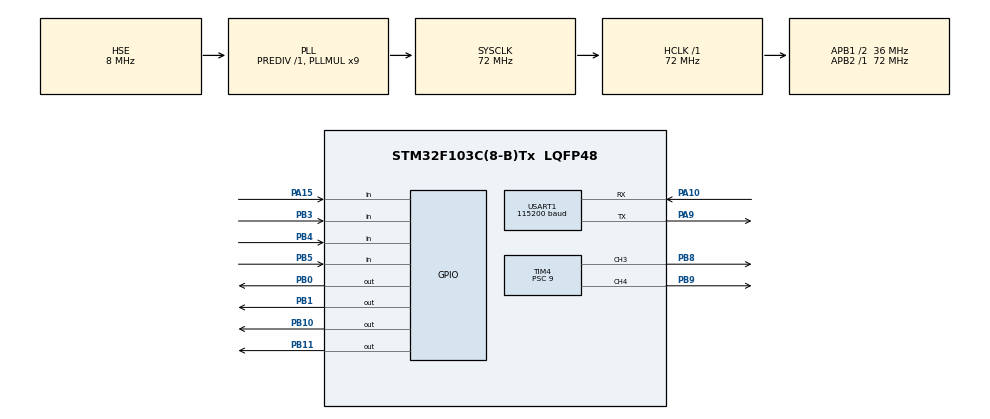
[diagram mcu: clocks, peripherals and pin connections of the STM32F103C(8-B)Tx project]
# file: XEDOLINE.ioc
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Dma.Request0=USART1_RX
Dma.USART1_RX.0.Direction=DMA_PERIPH_TO_MEMORY
Dma.USART1_RX.0.Instance=DMA1_Channel5
Dma.USART1_RX.0.MemDataAlignment=DMA_MDATAALIGN_BYTE
Dma.USART1_RX.0.MemInc=DMA_MINC_ENABLE
Dma.USART1_RX.0.Mode=DMA_NORMAL
Dma.USART1_RX.0.PeriphDataAlignment=DMA_PDATAALIGN_BYTE
Dma.USART1_RX.0.PeriphInc=DMA_PINC_DISABLE
Dma.USART1_RX.0.Priority=DMA_PRIORITY_LOW
Mcu.Family=STM32F1
Mcu.Name=STM32F103C(8-B)Tx
Mcu.Package=LQFP48
NVIC.DMA1_Channel5_IRQn=true\:0\:0\:false\:false\:true\:false\:true
NVIC.PriorityGroup=NVIC_PRIORITYGROUP_4
NVIC.TIM3_IRQn=true\:0\:0\:false\:false\:true\:true\:true
NVIC.USART1_IRQn=true\:0\:0\:false\:false\:true\:true\:true
PA10.Mode=Asynchronous
PA10.Signal=USART1_RX
PA13.Mode=Serial_Wire
PA13.Signal=SYS_JTMS-SWDIO
PA14.Mode=Serial_Wire
PA14.Signal=SYS_JTCK-SWCLK
PA15.Signal=GPIO_Input
PA9.Mode=Asynchronous
PA9.Signal=USART1_TX
PB0.Signal=GPIO_Output
PB1.Signal=GPIO_Output
PB10.Signal=GPIO_Output
PB11.Signal=GPIO_Output
PB3.Signal=GPIO_Input
PB4.Signal=GPIO_Input
PB5.Signal=GPIO_Input
PB8.Signal=S_TIM4_CH3
PB9.Signal=S_TIM4_CH4
PD0-OSC_IN.Mode=HSE-External-Oscillator
PD0-OSC_IN.Signal=RCC_OSC_IN
PD1-OSC_OUT.Mode=HSE-External-Oscillator
PD1-OSC_OUT.Signal=RCC_OSC_OUT
ProjectManager.HeapSize=0x200
ProjectManager.StackSize=0x400
ProjectManager.TargetToolchain=MDK-ARM V5
RCC.AHBFreq_Value=72000000
RCC.APB1CLKDivider=RCC_HCLK_DIV2
RCC.APB1Freq_Value=36000000
RCC.APB1TimFreq_Value=72000000
RCC.APB2Freq_Value=72000000
RCC.APB2TimFreq_Value=72000000
RCC.HCLKFreq_Value=72000000
RCC.PLLMUL=RCC_PLL_MUL9
RCC.PLLSourceVirtual=RCC_PLLSOURCE_HSE
RCC.SYSCLKFreq_VALUE=72000000
RCC.SYSCLKSource=RCC_SYSCLKSOURCE_PLLCLK
RCC.USBFreq_Value=72000000
SH.S_TIM4_CH3.0=TIM4_CH3,PWM Generation3 CH3
SH.S_TIM4_CH4.0=TIM4_CH4,PWM Generation4 CH4
TIM3.Period=200
TIM3.Prescaler=7199
TIM4.Channel-PWM\ Generation3\ CH3=TIM_CHANNEL_3
TIM4.Channel-PWM\ Generation4\ CH4=TIM_CHANNEL_4
TIM4.Period=254
TIM4.Prescaler=9
USART1.BaudRate=115200
USART1.VirtualMode=VM_ASYNC
VP_TIM3_VS_ClockSourceINT.Mode=Internal
VP_TIM4_VS_ClockSourceINT.Mode=Internal
board=custom

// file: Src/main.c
/* USER CODE BEGIN Header */
/**
  ******************************************************************************
  * @file           : main.c
  * @brief          : Main program body
  ******************************************************************************
  * @attention
  *
  * <h2><center>&copy; Copyright (c) 2019 STMicroelectronics.
  * All rights reserved.</center></h2>
  *
  * This software component is licensed by ST under BSD 3-Clause license,
  * the "License"; You may not use this file except in compliance with the
  * License. You may obtain a copy of the License at:
  *                        opensource.org/licenses/BSD-3-Clause
  *
  ******************************************************************************
  */
/* USER CODE END Header */

#include "main.h"

/* USER CODE BEGIN Includes */
#include <PID.h>
#include <control.h>
#include "string.h"
#include "stdio.h"

/* USER CODE END Includes */

/* USER CODE BEGIN PTD */
int kt=0;
float vitri;
int presumindex=0;
int i_SumIndexArry=0;
static int demtimeout=1;
static int demoutline=0;
static float previtri=0;
static int demprevitri=0;
typedef enum
	{
		STOP = 0,
		LINE_FOLLOW,
		MANUAL,
	}mode;
mode mode_current = STOP;
typedef enum
{
	LINE_OFF=0,
	LINE_START,
}LINE_parameter;

typedef enum
{
	LINE_external=0,
	LINE_internal,
}LINE_Control;

LINE_parameter Line_status=LINE_START;

void Control_Value_Line(int value);
void Control_vitri_Line(float vitri);
void CONTROL();

/* USER CODE END PTD */

/* USER CODE BEGIN PD */
typedef enum
	{
			UART_START =0,
			UART_APP ,
	}Uart_statemachine;
Uart_statemachine my_state = UART_START;
/* USER CODE END PD */

TIM_HandleTypeDef htim3;
TIM_HandleTypeDef htim4;
UART_HandleTypeDef huart1;
DMA_HandleTypeDef hdma_usart1_rx;
DMA_HandleTypeDef hdma_usart1_tx;

/* USER CODE BEGIN PV */
uint8_t pwm1 = 160;
uint8_t pwm2 = 160;
uint8_t offset = 10;
//uint8_t mode = 0;    // 2 : control   , 1: line follow
int i =0;
int k =0;
int kq = 0;
uint8_t S[4];
float result_PWM;
uint8_t Rx_buff[10];
PID_parameter PID_set_parameters = {.Kp =30,.Ki=0.0002,.Kd=26,.Ts = 0.005,.PID_Saturation = 180
																			,.error =0,.pre_error =0,.pre2_error=0,.pre_Out =0,.Out = 0};
/* USER CODE END PV */

void SystemClock_Config(void);
static void MX_GPIO_Init(void);
static void MX_USART1_UART_Init(void);
static void MX_TIM4_Init(void);
static void MX_TIM3_Init(void);
static void MX_DMA_Init(void);
/* USER CODE BEGIN PFP */

/*
PB0  ---> IN4
PB1  ---> IN3
PB10 ---> IN2
PB11 ---> IN1
*/
void HAL_TIM_PeriodElapsedCallback(TIM_HandleTypeDef *htim)   // ngat 5ms
	{
	if (htim->Instance == htim3.Instance)
	{
		if ( mode_current == LINE_FOLLOW)
		{
			S[3] = HAL_GPIO_ReadPin(GPIOB,GPIO_PIN_5); // dat gia tri = 7
			S[2] = HAL_GPIO_ReadPin(GPIOB,GPIO_PIN_4); // dat gia tri = 5
			S[1] = HAL_GPIO_ReadPin(GPIOB,GPIO_PIN_3); // dat gia tri = 3
			S[0] = HAL_GPIO_ReadPin(GPIOA,GPIO_PIN_15);// dat gia tri = 1
			for(int i=0;i<=3;i++)
			{
				if(S[i]==0)
				{
					i_SumIndexArry+=(2*i+1);
				}
			}

			if(i_SumIndexArry==0)
			{
				Line_status = LINE_OFF; // khong bat line
			}
			else
			{
				Line_status = LINE_START; // bat duoc line
			}

			switch(Line_status)
			{
				case LINE_OFF:
				{
					demoutline+=1;
					if(demoutline==20)    // out time line -> nhan lai tri tri truoc khi out
					{
							demtimeout+=1;
							vitri=previtri;
							Control_vitri_Line(vitri);
							Line_status = LINE_START;
							demoutline=0;
					}

					break;
				}
				case LINE_START:
				{
					Control_Value_Line(i_SumIndexArry);
					break;
				}
			}
			presumindex=i_SumIndexArry;
			i_SumIndexArry=0;

		}
		else if(mode_current == MANUAL)
		{
			CONTROL();
		}
		else if(mode_current == STOP)
		{
			__HAL_TIM_SET_COMPARE(&htim4,TIM_CHANNEL_3,0);
			__HAL_TIM_SET_COMPARE(&htim4,TIM_CHANNEL_4,0);
		}
	}
}
/* USER CODE END PFP */

/* USER CODE BEGIN 0 */

void HAL_UART_RxCpltCallback(UART_HandleTypeDef *huart)
{
	if(huart->Instance == huart1.Instance)
	{
	switch(my_state)
	{
		case UART_START:
			{
			if (Rx_buff[0] == 's' )  // khi nhan nut start de bat dau
				{
					my_state = UART_APP;
					HAL_UART_Receive_DMA(&huart1,Rx_buff,1);
					break;
				}
			else if (Rx_buff[0] == '1' )  // khi nhan nut stop
				{
					my_state = UART_START;
					HAL_UART_Receive_DMA(&huart1,Rx_buff,1);
					break;
				}
			}
		case UART_APP:
			{
			HAL_UART_Receive_DMA(&huart1,(uint8_t*)Rx_buff,1);
			if (Rx_buff[0] == 'f' || Rx_buff[0] == 'b' || Rx_buff[0] == 'r'||Rx_buff[0] == 'l')  // khi o che do dieu khien tay
				{
				mode_current = MANUAL;  // control
				my_state = UART_APP;
				HAL_UART_Receive_DMA(&huart1,Rx_buff,1);
				}
			else if (Rx_buff[0] =='i')
				{
					mode_current = STOP;

				}
			else if (Rx_buff[0] == 'd' ) // bat che do do line
				{
					mode_current = LINE_FOLLOW;  // che do do line
					HAL_UART_Receive_DMA(&huart1,Rx_buff,1);
					my_state = UART_APP;
				}
			else if(Rx_buff[0] == 'k'  ) // tat che do do line
				{
					mode_current =STOP;
					HAL_UART_Receive_DMA(&huart1,Rx_buff,1);
					my_state = UART_APP;
				}
			break;
				}
			}
		}
}
/*-----------------------------------------------------------------------------
@brief  Control_Value_Line
@param
light :         0    1    2    3
Reference:      1    3    5    7
*/
void Control_Value_Line (int value)
{
	switch(value)
		{
		case 7:
		{
			vitri=1.8;
			break;
		}
		case (12 | 15):
			vitri=1.65;
			break;
		case 5:
			vitri=1.4;
			break;
		case 3:
			vitri=-1.4;
			break;
		case 8:
			vitri=0;
			break;
		case 0:
			vitri =0;
			break;
		case (4 | 9):
			vitri= -1.65;
			break;
		case 1:
			vitri=-1.8;
			break;
		}
		Control_vitri_Line(vitri);
}
/*-----------------------------------------------------------------------------
@brief  Control robot f
@param 	None
*/
void CONTROL()
{
		switch(Rx_buff[0])
		{
		case 'r':
		{
			backward();
			__HAL_TIM_SET_COMPARE(&htim4,TIM_CHANNEL_3,100);   //speed of left motor
			__HAL_TIM_SET_COMPARE(&htim4,TIM_CHANNEL_4,200);	// speed of right motor
			break;
		}
		case 'l':
		{
			backward();
			__HAL_TIM_SET_COMPARE(&htim4,TIM_CHANNEL_3,200);   //speed of left motor
			__HAL_TIM_SET_COMPARE(&htim4,TIM_CHANNEL_4,100);	// speed of right motor
			break;
		}
		case 'f':
		{
			backward();
			__HAL_TIM_SET_COMPARE(&htim4,TIM_CHANNEL_3,210);   //speed of left motor
			__HAL_TIM_SET_COMPARE(&htim4,TIM_CHANNEL_4,210);	// speed of right motor
			break;
		}
		case 'b':
		{
			forward();
			__HAL_TIM_SET_COMPARE(&htim4,TIM_CHANNEL_3,210);   //speed of left motor
			__HAL_TIM_SET_COMPARE(&htim4,TIM_CHANNEL_4,210);	// speed of right motor
			break;
		}
}
}

void Control_vitri_Line (float vitri)
{
	previtri=vitri;
	result_PWM = PID_PROCESS(&PID_set_parameters,vitri,0);
	if (vitri== 0)
	{
		backward();
		__HAL_TIM_SET_COMPARE(&htim4,TIM_CHANNEL_3,180);  //kenh 3 dong co trai
		__HAL_TIM_SET_COMPARE(&htim4,TIM_CHANNEL_4,180);
	}
	if (vitri < 0)
	{
		if(vitri<-1.5)
		{
		backward();
		__HAL_TIM_SET_COMPARE(&htim4,TIM_CHANNEL_3,result_PWM);  //kenh 3 dong co trai
		HAL_GPIO_WritePin(GPIOB,GPIO_PIN_10,GPIO_PIN_SET); // dong co phai
		HAL_GPIO_WritePin(GPIOB,GPIO_PIN_11,GPIO_PIN_RESET);
		__HAL_TIM_SET_COMPARE(&htim4,TIM_CHANNEL_4,120);
		}
		else
		{
			backward();
			__HAL_TIM_SET_COMPARE(&htim4,TIM_CHANNEL_3,result_PWM);  //kenh 3 dong co trai
			__HAL_TIM_SET_COMPARE(&htim4,TIM_CHANNEL_4,160);
		}
	}
	if (vitri > 0)
	{
		if(vitri>1.5)
		{
		backward();
		__HAL_TIM_SET_COMPARE(&htim4,TIM_CHANNEL_4,(result_PWM*-1));
		HAL_GPIO_WritePin(GPIOB,GPIO_PIN_1,GPIO_PIN_RESET);  // dong co trai
		HAL_GPIO_WritePin(GPIOB,GPIO_PIN_0,GPIO_PIN_SET);
		__HAL_TIM_SET_COMPARE(&htim4,TIM_CHANNEL_3,120);
		}else
		{
			backward();
			__HAL_TIM_SET_COMPARE(&htim4,TIM_CHANNEL_4,(result_PWM*-1));
			__HAL_TIM_SET_COMPARE(&htim4,TIM_CHANNEL_3,160);
		}
	}

}
/* USER CODE END 0 */

int main(void)
{

  /* MCU Configuration--------------------------------------------------------*/

  /* Reset of all peripherals, Initializes the Flash interface and the Systick. */
  HAL_Init();

  /* Configure the system clock */
  SystemClock_Config();

  /* Initialize all configured peripherals */
  MX_GPIO_Init();

  MX_TIM4_Init();
  MX_TIM3_Init();
  MX_DMA_Init();
	MX_USART1_UART_Init();
  /* USER CODE BEGIN 2 */
  HAL_TIM_PWM_Start(&htim4,TIM_CHANNEL_3);
  HAL_TIM_PWM_Start(&htim4,TIM_CHANNEL_4);
  HAL_TIM_Base_Start_IT(&htim3);
	HAL_UART_Receive_DMA(&huart1,Rx_buff,1);
  /* USER CODE END 2 */

  /* Infinite loop */
  /* USER CODE BEGIN WHILE */
  while (1)
  {
		/*
						}*/
    /* USER CODE END WHILE */

  }
}

static void MX_TIM4_Init(void)
{

  TIM_ClockConfigTypeDef sClockSourceConfig = {0};
  TIM_MasterConfigTypeDef sMasterConfig = {0};
  TIM_OC_InitTypeDef sConfigOC = {0};

  htim4.Instance = TIM4;
  htim4.Init.Prescaler = 9;
  htim4.Init.CounterMode = TIM_COUNTERMODE_UP;
  htim4.Init.Period = 254;
  htim4.Init.ClockDivision = TIM_CLOCKDIVISION_DIV1;
  htim4.Init.AutoReloadPreload = TIM_AUTORELOAD_PRELOAD_DISABLE;
  if (HAL_TIM_Base_Init(&htim4) != HAL_OK)
  {
    Error_Handler();
  }
  sClockSourceConfig.ClockSource = TIM_CLOCKSOURCE_INTERNAL;
  if (HAL_TIM_ConfigClockSource(&htim4, &sClockSourceConfig) != HAL_OK)
  {
    Error_Handler();
  }
  if (HAL_TIM_PWM_Init(&htim4) != HAL_OK)
  {
    Error_Handler();
  }
  sMasterConfig.MasterOutputTrigger = TIM_TRGO_RESET;
  sMasterConfig.MasterSlaveMode = TIM_MASTERSLAVEMODE_DISABLE;
  if (HAL_TIMEx_MasterConfigSynchronization(&htim4, &sMasterConfig) != HAL_OK)
  {
    Error_Handler();
  }
  sConfigOC.OCMode = TIM_OCMODE_PWM1;
  sConfigOC.Pulse = 0;
  sConfigOC.OCPolarity = TIM_OCPOLARITY_HIGH;
  sConfigOC.OCFastMode = TIM_OCFAST_DISABLE;
  if (HAL_TIM_PWM_ConfigChannel(&htim4, &sConfigOC, TIM_CHANNEL_3) != HAL_OK)
  {
    Error_Handler();
  }
  if (HAL_TIM_PWM_ConfigChannel(&htim4, &sConfigOC, TIM_CHANNEL_4) != HAL_OK)
  {
    Error_Handler();
  }
  HAL_TIM_MspPostInit(&htim4);

}
void SystemClock_Config(void)
{
  RCC_OscInitTypeDef RCC_OscInitStruct = {0};
  RCC_ClkInitTypeDef RCC_ClkInitStruct = {0};

  /** Initializes the CPU, AHB and APB busses clocks
  */
  RCC_OscInitStruct.OscillatorType = RCC_OSCILLATORTYPE_HSE;
  RCC_OscInitStruct.HSEState = RCC_HSE_ON;
  RCC_OscInitStruct.HSEPredivValue = RCC_HSE_PREDIV_DIV1;
  RCC_OscInitStruct.HSIState = RCC_HSI_ON;
  RCC_OscInitStruct.PLL.PLLState = RCC_PLL_ON;
  RCC_OscInitStruct.PLL.PLLSource = RCC_PLLSOURCE_HSE;
  RCC_OscInitStruct.PLL.PLLMUL = RCC_PLL_MUL9;
  if (HAL_RCC_OscConfig(&RCC_OscInitStruct) != HAL_OK)
  {
    Error_Handler();
  }
  /** Initializes the CPU, AHB and APB busses clocks
  */
  RCC_ClkInitStruct.ClockType = RCC_CLOCKTYPE_HCLK|RCC_CLOCKTYPE_SYSCLK
                              |RCC_CLOCKTYPE_PCLK1|RCC_CLOCKTYPE_PCLK2;
  RCC_ClkInitStruct.SYSCLKSource = RCC_SYSCLKSOURCE_PLLCLK;
  RCC_ClkInitStruct.AHBCLKDivider = RCC_SYSCLK_DIV1;
  RCC_ClkInitStruct.APB1CLKDivider = RCC_HCLK_DIV2;
  RCC_ClkInitStruct.APB2CLKDivider = RCC_HCLK_DIV1;

  if (HAL_RCC_ClockConfig(&RCC_ClkInitStruct, FLASH_LATENCY_2) != HAL_OK)
  {
    Error_Handler();
  }
}

static void MX_TIM3_Init(void)
{

  TIM_ClockConfigTypeDef sClockSourceConfig = {0};
  TIM_MasterConfigTypeDef sMasterConfig = {0};

  htim3.Instance = TIM3;
  htim3.Init.Prescaler = 7199;
  htim3.Init.CounterMode = TIM_COUNTERMODE_UP;
  htim3.Init.Period = 49;
  htim3.Init.ClockDivision = TIM_CLOCKDIVISION_DIV1;
  htim3.Init.AutoReloadPreload = TIM_AUTORELOAD_PRELOAD_DISABLE;
  if (HAL_TIM_Base_Init(&htim3) != HAL_OK)
  {
    Error_Handler();
  }
  sClockSourceConfig.ClockSource = TIM_CLOCKSOURCE_INTERNAL;
  if (HAL_TIM_ConfigClockSource(&htim3, &sClockSourceConfig) != HAL_OK)
  {
    Error_Handler();
  }
  sMasterConfig.MasterOutputTrigger = TIM_TRGO_RESET;
  sMasterConfig.MasterSlaveMode = TIM_MASTERSLAVEMODE_DISABLE;
  if (HAL_TIMEx_MasterConfigSynchronization(&htim3, &sMasterConfig) != HAL_OK)
  {
    Error_Handler();
  }

}

static void MX_USART1_UART_Init(void)
{

  huart1.Instance = USART1;
  huart1.Init.BaudRate = 9600;
  huart1.Init.WordLength = UART_WORDLENGTH_8B;
  huart1.Init.StopBits = UART_STOPBITS_1;
  huart1.Init.Parity = UART_PARITY_NONE;
  huart1.Init.Mode = UART_MODE_TX_RX;
  huart1.Init.HwFlowCtl = UART_HWCONTROL_NONE;
  huart1.Init.OverSampling = UART_OVERSAMPLING_16;
  if (HAL_UART_Init(&huart1) != HAL_OK)
  {
    Error_Handler();
  }

}

static void MX_DMA_Init(void)
{

  /* DMA controller clock enable */
  __HAL_RCC_DMA1_CLK_ENABLE();

  /* DMA interrupt init */
  /* DMA1_Channel4_IRQn interrupt configuration */
  HAL_NVIC_SetPriority(DMA1_Channel4_IRQn, 0, 0);
  HAL_NVIC_EnableIRQ(DMA1_Channel4_IRQn);
  /* DMA1_Channel5_IRQn interrupt configuration */
  HAL_NVIC_SetPriority(DMA1_Channel5_IRQn, 0, 0);
  HAL_NVIC_EnableIRQ(DMA1_Channel5_IRQn);

}

static void MX_GPIO_Init(void)
{
  GPIO_InitTypeDef GPIO_InitStruct = {0};

  /* GPIO Ports Clock Enable */
  __HAL_RCC_GPIOD_CLK_ENABLE();
  __HAL_RCC_GPIOB_CLK_ENABLE();
  __HAL_RCC_GPIOA_CLK_ENABLE();

  /*Configure GPIO pin Output Level */
  HAL_GPIO_WritePin(GPIOB, GPIO_PIN_0|GPIO_PIN_1|GPIO_PIN_10|GPIO_PIN_11, GPIO_PIN_RESET);

  /*Configure GPIO pins : PB0 PB1 PB10 PB11 */
  GPIO_InitStruct.Pin = GPIO_PIN_0|GPIO_PIN_1|GPIO_PIN_10|GPIO_PIN_11;
  GPIO_InitStruct.Mode = GPIO_MODE_OUTPUT_PP;
  GPIO_InitStruct.Pull = GPIO_NOPULL;
  GPIO_InitStruct.Speed = GPIO_SPEED_FREQ_LOW;
  HAL_GPIO_Init(GPIOB, &GPIO_InitStruct);

  /*Configure GPIO pin : PA15 */
  GPIO_InitStruct.Pin = GPIO_PIN_15;
  GPIO_InitStruct.Mode = GPIO_MODE_INPUT;
  GPIO_InitStruct.Pull = GPIO_NOPULL;
  HAL_GPIO_Init(GPIOA, &GPIO_InitStruct);

  /*Configure GPIO pins : PB3 PB4 PB5 */
  GPIO_InitStruct.Pin = GPIO_PIN_3|GPIO_PIN_4|GPIO_PIN_5;
  GPIO_InitStruct.Mode = GPIO_MODE_INPUT;
  GPIO_InitStruct.Pull = GPIO_NOPULL;
  HAL_GPIO_Init(GPIOB, &GPIO_InitStruct);

}

void Error_Handler(void)
{
}

/************************ (C) COPYRIGHT STMicroelectronics *****END OF FILE****/
